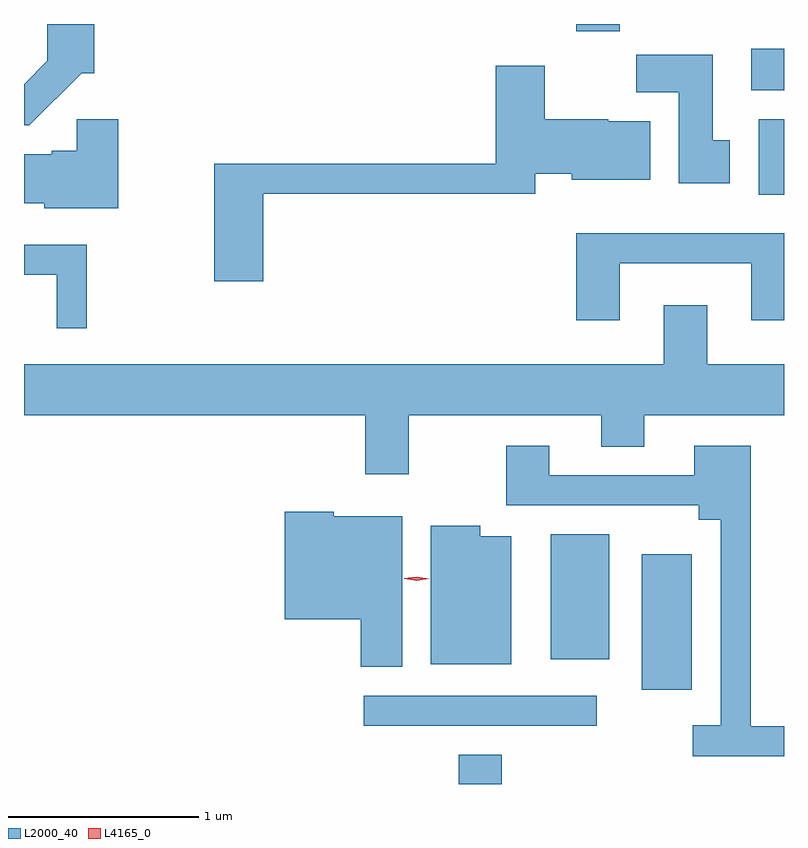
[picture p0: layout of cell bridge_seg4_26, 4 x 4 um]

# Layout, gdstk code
import gdstk
lib = gdstk.Library(unit=1e-6, precision=1e-09)
def R(c, l, rs):  # rectangles x0, y0, x1, y1
    for r in rs: c.add(gdstk.rectangle(r[:2], r[2:], *l))
def P(c, l, *ps):  # polygons
    for p in ps: c.add(gdstk.Polygon(p, *l))
L2000_40 = (2000, 40)
L4165_0 = (4165, 0)

bridge_seg4_26 = lib.new_cell('bridge_seg4_26')
R(bridge_seg4_26, L2000_40, [(1248.481,1263.935,1248.709,1264.089), (1247.983,1264.241,1249.208,1264.399), (1249.446,1264.431,1249.709,1265.144), (1248.966,1264.591,1249.274,1265.249), (1250.061,1267.036,1250.194,1267.434), (1250.021,1267.586,1250.194,1267.804), (1249.101,1267.896,1249.329,1267.935)])
P(bridge_seg4_26, L2000_40, [(1246.497,1267.676),(1246.564,1267.676),(1246.564,1267.934),(1246.316,1267.934),(1246.316,1267.742),(1246.194,1267.619),(1246.194,1267.401),(1246.222,1267.401)],
  [(1249.909,1267.324),(1249.819,1267.324),(1249.819,1267.774),(1249.416,1267.774),(1249.416,1267.576),(1249.641,1267.576),(1249.641,1267.096),(1249.909,1267.096)],
  [(1247.454,1267.041),(1248.884,1267.041),(1248.884,1267.146),(1249.076,1267.146),(1249.076,1267.116),(1249.489,1267.116),(1249.489,1267.424),(1249.27,1267.424),(1249.27,1267.434),(1248.934,1267.434),(1248.934,1267.714),(1248.676,1267.714),(1248.676,1267.199),(1247.196,1267.199),(1247.196,1266.581),(1247.454,1266.581)],
  [(1246.689,1267.434),(1246.471,1267.434),(1246.471,1267.269),(1246.341,1267.269),(1246.341,1267.249),(1246.194,1267.249),(1246.194,1266.991),(1246.301,1266.991),(1246.301,1266.966),(1246.689,1266.966)],
  [(1249.329,1266.676),(1250.021,1266.676),(1250.021,1266.376),(1250.194,1266.376),(1250.194,1266.834),(1249.101,1266.834),(1249.101,1266.376),(1249.329,1266.376)],
  [(1246.524,1266.774),(1246.194,1266.774),(1246.194,1266.616),(1246.366,1266.616),(1246.366,1266.333),(1246.524,1266.333)],
  [(1248.219,1265.876),(1249.231,1265.876),(1249.231,1265.711),(1249.459,1265.711),(1249.459,1265.876),(1250.194,1265.876),(1250.194,1266.144),(1249.789,1266.144),(1249.789,1266.454),(1249.561,1266.454),(1249.561,1266.144),(1246.194,1266.144),(1246.194,1265.876),(1247.991,1265.876),(1247.991,1265.566),(1248.219,1265.566)],
  [(1250.194,1264.239),(1250.019,1264.239),(1250.019,1265.714),(1249.721,1265.714),(1249.721,1265.559),(1248.959,1265.559),(1248.959,1265.714),(1248.731,1265.714),(1248.731,1265.401),(1249.746,1265.401),(1249.746,1265.326),(1249.861,1265.326),(1249.861,1264.244),(1249.713,1264.244),(1249.713,1264.081),(1250.194,1264.081)],
  [(1248.184,1265.344),(1247.824,1265.344),(1247.824,1265.369),(1247.566,1265.369),(1247.566,1264.801),(1247.966,1264.801),(1247.966,1264.551),(1248.184,1264.551)],
  [(1248.759,1265.239),(1248.594,1265.239),(1248.594,1265.294),(1248.336,1265.294),(1248.336,1264.566),(1248.759,1264.566)])
P(bridge_seg4_26, L4165_0, [(1248.26,1265.006),(1248.194,1265.016),(1248.194,1265.017),(1248.194,1265.017),(1248.26,1265.026),(1248.326,1265.016),(1248.326,1265.016),(1248.326,1265.015)])

lib.write_gds('bridge_seg4_26.gds')
